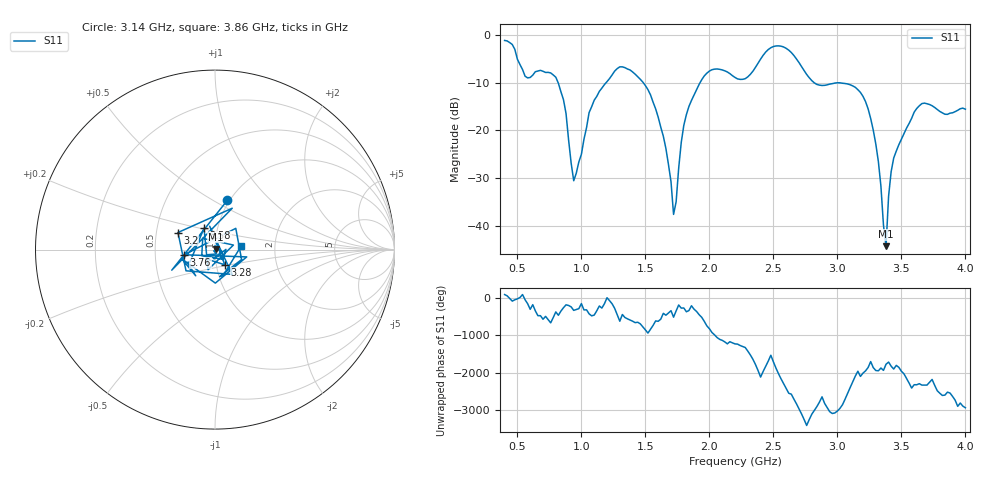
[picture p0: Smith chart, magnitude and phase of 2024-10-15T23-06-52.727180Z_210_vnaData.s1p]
! Created with skrf (http://scikit-rf.org).
# Hz S RI R 50.0
!freq ReS11 ImS11
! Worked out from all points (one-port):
!   181 points, 400 MHz to 4 GHz, reference 50 ohm
!   lowest |S11| = -44.2 dB at 3.38 GHz (marker M1), VSWR 1.01, Z = 50.5 + j0.333 ohm
!   |S11| at or under -10 dB: 817.9 MHz to 1.193 GHz (375.4 MHz wide, 37.3 % of centre); 1.483 GHz to 1.927 GHz (444.4 MHz wide, 26.1 % of centre); 2.818 GHz to end of sweep
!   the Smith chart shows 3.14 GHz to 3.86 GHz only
!   S11 on the Smith chart (normalised r, x): 3.14 GHz: 0.98, +0.58; 3.2 GHz: 0.65, +0.13; 3.28 GHz: 1.10, -0.19; 3.58 GHz: 0.86, +0.21; 3.76 GHz: 0.71, -0.04; 3.86 GHz: 1.34, +0.06
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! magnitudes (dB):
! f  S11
! 400 MHz  -1.2
! 560 MHz  -8.7
! 760 MHz  -8.0
! 860 MHz  -13.6
! 940 MHz  -30.5
! 1.06 GHz  -16.3
! 1.3 GHz  -6.7
! 1.58 GHz  -15.5
! 1.66 GHz  -23.7
! 1.72 GHz  -37.5
! 1.76 GHz  -27.9
! 1.82 GHz  -16.7
! 1.94 GHz  -9.4
! 2.2 GHz  -8.9
! 2.5 GHz  -2.5
! 2.66 GHz  -4.3
! 2.84 GHz  -10.4
! 3.1 GHz  -10.4
! 3.14 GHz  -11.0
! 3.2 GHz  -12.9
! 3.28 GHz  -19.9
! 3.38 GHz  -44.2
! 3.42 GHz  -28.6
! 3.56 GHz  -18.5
! 3.58 GHz  -17.5
! 3.76 GHz  -15.2
! 3.86 GHz  -16.6
! 4 GHz  -15.6
